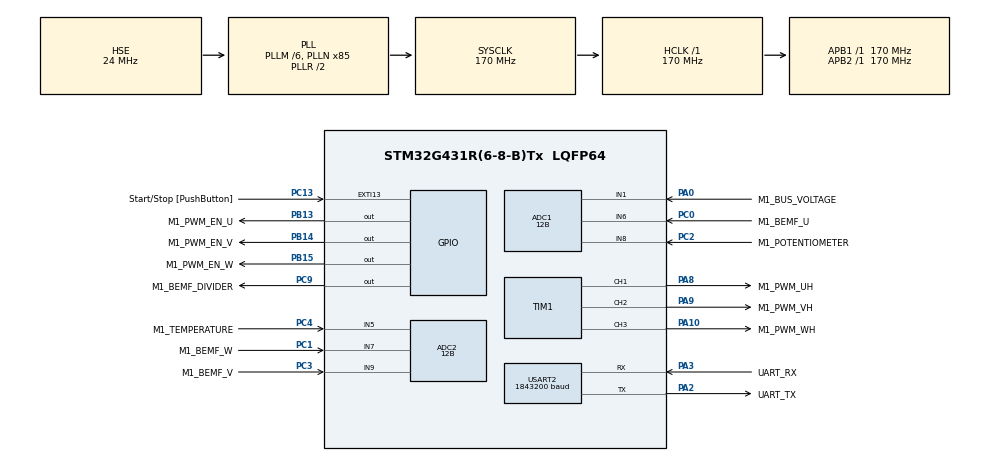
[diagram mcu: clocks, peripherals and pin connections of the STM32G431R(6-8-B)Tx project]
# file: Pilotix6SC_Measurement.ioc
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ADC1.AWD1FilteringConfig=ADC_AWD_FILTERING_NONE
ADC1.Channel-1\#ChannelRegularConversion=ADC_CHANNEL_1
ADC1.Channel-2\#ChannelRegularConversion=ADC_CHANNEL_8
ADC1.ClockPrescaler=ADC_CLOCK_ASYNC_DIV1
ADC1.ContinuousConvMode=DISABLE
ADC1.DMAContinuousRequests=DISABLE
ADC1.DataAlign=ADC_DATAALIGN_LEFT
ADC1.DiscontinuousConvMode=DISABLE
ADC1.EOCSelection=ADC_EOC_SINGLE_CONV
ADC1.EnableAnalogWatchDog1=true
ADC1.EnableAnalogWatchDog2=false
ADC1.EnableAnalogWatchDog3=false
ADC1.EnableInjectedConversion=ENABLE
ADC1.EnableRegularConversion=ENABLE
ADC1.ExternalTrigConv=ADC_SOFTWARE_START
ADC1.ExternalTrigConvEdge=ADC_EXTERNALTRIGCONVEDGE_NONE
ADC1.ExternalTrigInjecConv=ADC_EXTERNALTRIGINJEC_T1_TRGO
ADC1.ExternalTrigInjecConvEdge=ADC_EXTERNALTRIGINJECCONV_EDGE_FALLING
ADC1.InjNumberOfConversion=1
ADC1.InjectedChannel-1\#ChannelInjectedConversion=ADC_CHANNEL_6
ADC1.InjectedConvMode=None
ADC1.InjectedOffset-1\#ChannelInjectedConversion=0
ADC1.InjectedOffsetNumber-1\#ChannelInjectedConversion=ADC_OFFSET_NONE
ADC1.InjectedRank-1\#ChannelInjectedConversion=1
ADC1.InjectedSamplingTime-1\#ChannelInjectedConversion=ADC_SAMPLETIME_47CYCLES_5
ADC1.LowPowerAutoWait=DISABLE
ADC1.NbrOfConversion=2
ADC1.NbrOfConversionFlag=1
ADC1.Offset-1\#ChannelRegularConversion=0
ADC1.Offset-2\#ChannelRegularConversion=0
ADC1.OffsetNumber-1\#ChannelRegularConversion=ADC_OFFSET_NONE
ADC1.OffsetNumber-2\#ChannelRegularConversion=ADC_OFFSET_NONE
ADC1.Overrun=ADC_OVR_DATA_PRESERVED
ADC1.Rank-1\#ChannelRegularConversion=1
ADC1.Rank-2\#ChannelRegularConversion=2
ADC1.Resolution=ADC_RESOLUTION_12B
ADC1.SamplingTime-1\#ChannelRegularConversion=ADC_SAMPLETIME_47CYCLES_5
ADC1.SamplingTime-2\#ChannelRegularConversion=ADC_SAMPLETIME_47CYCLES_5
ADC1.ScanConvMode=ADC_SCAN_ENABLE
ADC1.WatchdogChannel=ADC_CHANNEL_6
ADC1.WatchdogMode=ADC_ANALOGWATCHDOG_SINGLE_INJEC
ADC1.master=1
ADC2.AWD1FilteringConfig=ADC_AWD_FILTERING_NONE
ADC2.Channel-1\#ChannelRegularConversion=ADC_CHANNEL_5
ADC2.ClockPrescaler=ADC_CLOCK_ASYNC_DIV1
ADC2.ContinuousConvMode=DISABLE
ADC2.DMAContinuousRequests=DISABLE
ADC2.DataAlign=ADC_DATAALIGN_LEFT
ADC2.DiscontinuousConvMode=DISABLE
ADC2.EOCSelection=ADC_EOC_SINGLE_CONV
ADC2.EnableAnalogWatchDog1=true
ADC2.EnableAnalogWatchDog2=false
ADC2.EnableAnalogWatchDog3=false
ADC2.EnableInjectedConversion=ENABLE
ADC2.EnableRegularConversion=ENABLE
ADC2.ExternalTrigConv=ADC_SOFTWARE_START
ADC2.ExternalTrigConvEdge=ADC_EXTERNALTRIGCONVEDGE_NONE
ADC2.ExternalTrigInjecConv=ADC_EXTERNALTRIGINJEC_T1_TRGO
ADC2.ExternalTrigInjecConvEdge=ADC_EXTERNALTRIGINJECCONV_EDGE_FALLING
ADC2.InjNumberOfConversion=1
ADC2.InjectedChannel-1\#ChannelInjectedConversion=ADC_CHANNEL_9
ADC2.InjectedConvMode=None
ADC2.InjectedOffset-1\#ChannelInjectedConversion=0
ADC2.InjectedOffsetNumber-1\#ChannelInjectedConversion=ADC_OFFSET_NONE
ADC2.InjectedRank-1\#ChannelInjectedConversion=1
ADC2.InjectedSamplingTime-1\#ChannelInjectedConversion=ADC_SAMPLETIME_47CYCLES_5
ADC2.LowPowerAutoWait=DISABLE
ADC2.NbrOfConversion=1
ADC2.NbrOfConversionFlag=1
ADC2.Offset-1\#ChannelRegularConversion=0
ADC2.OffsetNumber-1\#ChannelRegularConversion=ADC_OFFSET_NONE
ADC2.Overrun=ADC_OVR_DATA_PRESERVED
ADC2.Rank-1\#ChannelRegularConversion=1
ADC2.Resolution=ADC_RESOLUTION_12B
ADC2.SamplingTime-1\#ChannelRegularConversion=ADC_SAMPLETIME_47CYCLES_5
ADC2.ScanConvMode=ADC_SCAN_DISABLE
ADC2.WatchdogChannel=ADC_CHANNEL_9
ADC2.WatchdogMode=ADC_ANALOGWATCHDOG_SINGLE_INJEC
ADC2.master=1
Dma.Request0=USART2_RX
Dma.Request1=USART2_TX
Dma.USART2_RX.0.Direction=DMA_PERIPH_TO_MEMORY
Dma.USART2_RX.0.EventEnable=DISABLE
Dma.USART2_RX.0.Instance=DMA1_Channel1
Dma.USART2_RX.0.MemDataAlignment=DMA_MDATAALIGN_BYTE
Dma.USART2_RX.0.MemInc=DMA_MINC_ENABLE
Dma.USART2_RX.0.Mode=DMA_NORMAL
Dma.USART2_RX.0.PeriphDataAlignment=DMA_PDATAALIGN_BYTE
Dma.USART2_RX.0.PeriphInc=DMA_PINC_DISABLE
Dma.USART2_RX.0.Polarity=HAL_DMAMUX_REQ_GEN_RISING
Dma.USART2_RX.0.Priority=DMA_PRIORITY_LOW
Dma.USART2_RX.0.RequestNumber=1
Dma.USART2_RX.0.SignalID=NONE
Dma.USART2_RX.0.SyncEnable=DISABLE
Dma.USART2_RX.0.SyncPolarity=HAL_DMAMUX_SYNC_NO_EVENT
Dma.USART2_RX.0.SyncRequestNumber=1
Dma.USART2_RX.0.SyncSignalID=NONE
Dma.USART2_TX.1.Direction=DMA_MEMORY_TO_PERIPH
Dma.USART2_TX.1.EventEnable=DISABLE
Dma.USART2_TX.1.Instance=DMA1_Channel2
Dma.USART2_TX.1.MemDataAlignment=DMA_MDATAALIGN_BYTE
Dma.USART2_TX.1.MemInc=DMA_MINC_ENABLE
Dma.USART2_TX.1.Mode=DMA_NORMAL
Dma.USART2_TX.1.PeriphDataAlignment=DMA_PDATAALIGN_BYTE
Dma.USART2_TX.1.PeriphInc=DMA_PINC_DISABLE
Dma.USART2_TX.1.Polarity=HAL_DMAMUX_REQ_GEN_RISING
Dma.USART2_TX.1.Priority=DMA_PRIORITY_LOW
Dma.USART2_TX.1.RequestNumber=1
Dma.USART2_TX.1.SignalID=NONE
Dma.USART2_TX.1.SyncEnable=DISABLE
Dma.USART2_TX.1.SyncPolarity=HAL_DMAMUX_SYNC_NO_EVENT
Dma.USART2_TX.1.SyncRequestNumber=1
Dma.USART2_TX.1.SyncSignalID=NONE
ExtraMW=MotorControl
ExtraMW.MotorControl.Config=MotorControl
ExtraMW.MotorControl.Mode=MotorControl
ExtraMW.MotorControl.Root=MCSDK_v6.4.2-Full/MotorControl
ExtraMW.MotorControl.Template=templates
Mcu.Family=STM32G4
Mcu.Name=STM32G431R(6-8-B)Tx
Mcu.Package=LQFP64
MotorControl.ADC_REFERENCE_VOLTAGE=3.3
MotorControl.BEMF_ADC_SAMPLING_TIME=47
MotorControl.BEMF_ADC_TRIG_TIME_DPP=921
MotorControl.BEMF_ADC_TRIG_TIME_ON_DPP=256
MotorControl.BEMF_AVERAGING_FIFO_DEPTH=8
MotorControl.BEMF_DIVIDER_AVAILABLE=true
MotorControl.BEMF_DIVIDER_GPIO_PIN=LL_GPIO_PIN_9
MotorControl.BEMF_DIVIDER_GPIO_PORT=GPIOC
MotorControl.BEMF_ON_SENSING_DIVIDER=5.545455
MotorControl.BEMF_PWM_ON_ENABLE_HYSTERESIS_DPP=51
MotorControl.BEMF_PWM_ON_ENABLE_THRES_DPP=716
MotorControl.BOARD=NUCLEO-G431RB
MotorControl.BUS_VOLTAGE_READING=true
MotorControl.CCMRAM_ENABLED=false
MotorControl.CLOCK_FREQUENCY=CPU_CLK_170_MHZ
MotorControl.CLOCK_SOURCE=EXTERNAL
MotorControl.CPU_CLK_170_MHZ=true
MotorControl.CTLBOARD_NAME=NUCLEO-G431RB
MotorControl.CUBE_MX_VER=6.18.1
MotorControl.DBG_MCU_LOAD_MEASURE=true
MotorControl.DEBUG_DAC_FUNCTIONALITY_EN=false
MotorControl.DRIVES_NUMBER_SELECTION=SINGLEDRIVE
MotorControl.DRIVE_MODE=VM
MotorControl.DRIVE_NUMBER=1
MotorControl.DRIVE_TYPE=SIX_STEP
MotorControl.ENCODER_AVAILABLE=false
MotorControl.ENCODER_PPR=400
MotorControl.EXT_CLK_24_MHZ=true
MotorControl.EXT_CLOCK_FREQUENCY=EXT_CLK_24_MHZ
MotorControl.FAST_DEMAG=false
MotorControl.FLASH_SIZE=128
MotorControl.HALL_SENSORS_AVAILABLE=false
MotorControl.HIGH_SIDE_IDLE_STATE=false
MotorControl.HWV_POTENTIOMETER=Potentiometer
MotorControl.HWV_PWM=DrivingHighSidesAndThreeEnables
MotorControl.HW_COMPLEMENTED_LOW_SIDE=true
MotorControl.HW_DEAD_TIME_NS=550
MotorControl.IPs=NVIC,RCC,SYS,MotorControl,TIM1,TIM2,ADC1,ADC2,USART2,DMA
MotorControl.LF_TIMER_SELECTION=LF_TIM2
MotorControl.LOW_MEMORY_FOOTPRINT_REG=false
MotorControl.LOW_SIDE_IDLE_STATE=false
MotorControl.LOW_SIDE_SIGNALS_ENABLING=ES_GPIO
MotorControl.M1_ADC_AWD_FILTER_NUMBER=0
MotorControl.M1_AUXILIARY_SPEED_SENSOR=NONE
MotorControl.M1_BEMF_THRESHOLD_PWM=50
MotorControl.M1_BEMF_THRESHOLD_PWM_HIGH=100
MotorControl.M1_BEMF_THRESHOLD_PWM_LOW=1
MotorControl.M1_BOARD_MAX_CURRENT=1.5
MotorControl.M1_BUS_VOLTAGE_READING=true
MotorControl.M1_COMPUTATION_DELAY=-2
MotorControl.M1_CURRENT_MONITOR_READING=false
MotorControl.M1_CUR_READING=false
MotorControl.M1_DBG_OPEN_LOOP_ENABLE=false
MotorControl.M1_DC_CURRENT_RS_MEAS=1.5
MotorControl.M1_DEFAULT_TARGET_SPEED_RPM=0
MotorControl.M1_DP_TOPOLOGY=NONE
MotorControl.M1_DRIVE_TYPE=SIX_STEP
MotorControl.M1_ENABLE_SL_ALGO_FROM_PHASE=3
MotorControl.M1_ENCODER_PPR=400
MotorControl.M1_HALL_PHASE_SHIFT=300
MotorControl.M1_HALL_SENSORS_PLACEMENT=DEGREES_120
MotorControl.M1_HIGH_SIDE_IDLE_STATE=false
MotorControl.M1_HW_DEAD_TIME_NS=550
MotorControl.M1_ICL_ENABLED=false
MotorControl.M1_IPD_STARTUP=false
MotorControl.M1_LDLQ_RATIO=1.000
MotorControl.M1_LOW_SIDE_IDLE_STATE=false
MotorControl.M1_LOW_SIDE_SIGNALS_ENABLING=ES_GPIO
MotorControl.M1_LS=0.00001
MotorControl.M1_MAX_APPLICATION_SPEED=2130
MotorControl.M1_MAX_CONSECUTIVE_BEMF_ERRORS=10
MotorControl.M1_MIN_APPLICATION_SPEED=0
MotorControl.M1_MOTOR_MAX_SPEED_RPM=2130
MotorControl.M1_MOTOR_NAME=Pilotx 6210-210KV
MotorControl.M1_MOTOR_RATED_FLUX=0.014102062
MotorControl.M1_MOTOR_VOLTAGE_CONSTANT=4.0
MotorControl.M1_NB_CONSECUTIVE_TESTS=5
MotorControl.M1_NOMINAL_BUS_VOLTAGE_V=12
MotorControl.M1_OBS_MINIMUM_SPEED_RPM=320
MotorControl.M1_OCP_TOPOLOGY=NONE
MotorControl.M1_ON_OVER_VOLTAGE=TURN_OFF_PWM
MotorControl.M1_OTF_6S_BEMF_THRESHOLD=10
MotorControl.M1_OTF_6S_BRAKE_MS=1000
MotorControl.M1_OTF_6S_DETECTION_MS=500
MotorControl.M1_OTF_6S_LS_BRAKE_PERC=10
MotorControl.M1_OTF_6S_LS_DETECT_PERC=2
MotorControl.M1_OTF_6S_MAX_BEMF_ERROR=3
MotorControl.M1_OTF_RAMP_DURATION_MS=1000
MotorControl.M1_OTF_SPEED_DUTY_CYCLE_RATIO=3
MotorControl.M1_OTF_STARTUP=true
MotorControl.M1_OVP_THRESHOLD_HIGH=16.7
MotorControl.M1_OV_TEMPERATURE_HYSTERESIS_C=10
MotorControl.M1_OV_TEMPERATURE_PROT_ENABLING=true
MotorControl.M1_OV_TEMPERATURE_THRESHOLD_C=110
MotorControl.M1_OV_VOLTAGE_PROT_ENABLING=true
MotorControl.M1_OV_VOLTAGE_THRESHOLD_V=16.7
MotorControl.M1_PHASE1_DURATION=500
MotorControl.M1_PHASE1_FINAL_SPEED_RPM=0
MotorControl.M1_PHASE1_VOLTAGE_RMS=2.24
MotorControl.M1_PHASE2_DURATION=1000
MotorControl.M1_PHASE2_FINAL_SPEED_RPM=320
MotorControl.M1_PHASE2_VOLTAGE_RMS=5.24
MotorControl.M1_PHASE3_DURATION=500
MotorControl.M1_PHASE3_FINAL_SPEED_RPM=320
MotorControl.M1_PHASE3_VOLTAGE_RMS=5.24
MotorControl.M1_PHASE4_DURATION=0
MotorControl.M1_PHASE4_FINAL_SPEED_RPM=0
MotorControl.M1_PHASE4_VOLTAGE_RMS=2.24
MotorControl.M1_PHASE5_DURATION=0
MotorControl.M1_PHASE5_FINAL_SPEED_RPM=0
MotorControl.M1_PHASE5_VOLTAGE_RMS=2.24
MotorControl.M1_PID_SPEED_KD_DEFAULT=0
MotorControl.M1_PID_SPEED_KI_DEFAULT=418
MotorControl.M1_PID_SPEED_KP_DEFAULT=3170
MotorControl.M1_POLE_PAIR_NUM=14
MotorControl.M1_POTENTIOMETER_ENABLE=true
MotorControl.M1_POWERBOARD_NAME=X-NUCLEO-IHM16M1
MotorControl.M1_PWM_CHARGE_BOOT_CAP_DUTY_CYCLES=0.000
MotorControl.M1_PWM_CHARGE_BOOT_CAP_MS=10
MotorControl.M1_PWM_DRIVER_PN=STSPIN830
MotorControl.M1_PWM_FREQUENCY=30000
MotorControl.M1_PWM_TIMER_BRK_IRQ=TIM1_BRK_TIM15
MotorControl.M1_PWM_TIMER_SELECTION=PWM_TIM1
MotorControl.M1_PWM_TIMER_UP_IRQ=TIM1_UP_TIM16
MotorControl.M1_REGULATION_EXECUTION_RATE=1
MotorControl.M1_RS=0.13
MotorControl.M1_SHARED_SIGNAL_ENABLE=false
MotorControl.M1_SPD_DIFFERENTIAL_TERM_ENABLING=false
MotorControl.M1_SPEED_LOOP_FREQUENCY_HZ=1000
MotorControl.M1_SPEED_SENSOR=SENSORLESS_ADC
MotorControl.M1_SP_KDDIV=16
MotorControl.M1_SP_KIDIV=16384
MotorControl.M1_SP_KPDIV=128
MotorControl.M1_SS_MEAS_ERRORS_BEFORE_FAULTS=50
MotorControl.M1_STARTING_ANGLE_DEG=0
MotorControl.M1_SW_DEADTIME_NS=425
MotorControl.M1_T0_C=25
MotorControl.M1_TEMPERATURE_READING=true
MotorControl.M1_TEMP_ADC_SAMPLING_TIME=47
MotorControl.M1_TEMP_FDBK_ADC=ADC2
MotorControl.M1_TEMP_FDBK_CHANNEL=ADC_CHANNEL_5
MotorControl.M1_TRANSITION_DURATION=25
MotorControl.M1_T_MAX=110
MotorControl.M1_UD_VOLTAGE_THRESHOLD_V=7.0
MotorControl.M1_UV_VOLTAGE_PROT_ENABLING=true
MotorControl.M1_V0_V=0.579
MotorControl.M1_VBUS_ADC=ADC1
MotorControl.M1_VBUS_ADC_SAMPLING_TIME=47
MotorControl.M1_VBUS_CHANNEL=ADC_CHANNEL_1
MotorControl.M1_VBUS_PARTITIONING_FACTOR=0.0625
MotorControl.M1_ZCD_FALLING_TO_COMM=30
MotorControl.M1_ZCD_RISING_TO_COMM=30
MotorControl.M1_dV_dT=0.027
MotorControl.MCP_ASPEP_OVER_UART=true
MotorControl.MCP_ASYNC_EN=false
MotorControl.MCP_ASYNC_OVER_ASPEP_EN=false
MotorControl.MCP_ASYNC_OVER_UART_A_EN=false
MotorControl.MCP_DMACH_RX_UART_A=1
MotorControl.MCP_DMACH_TX_UART_A=2
MotorControl.MCP_DMA_RX_UART_A=DMA1
MotorControl.MCP_DMA_TX_UART_A=DMA1
MotorControl.MCP_EN=true
MotorControl.MCP_IRQ_HANDLER_DMA_RX_UART_A=DMA1_Channel1_IRQHandler
MotorControl.MCP_IRQ_HANDLER_UART_A=USART2_IRQHandler
MotorControl.MCP_OVER_ASPEP_EN=true
MotorControl.MCP_OVER_STLNK_EN=false
MotorControl.MCP_OVER_UART_A_EN=true
MotorControl.MCP_OVER_UART_B_EN=false
MotorControl.MCP_RX_SYNC_PAYLOAD_MAX=256
MotorControl.MCP_TX_SYNC_PAYLOAD_MAX=256
MotorControl.MCU=STM32G431RB
MotorControl.MCU_FAMILY=STM32G4
MotorControl.MCU_LINE=STM32G4x1
MotorControl.MCU_NAME=STM32G431R(6-8-B)Tx
MotorControl.MCU_PACKAGE=LQFP64
MotorControl.MCU_TYPE=STM32G431RB
MotorControl.MCU_USERNAME=STM32G431RBTx
MotorControl.MC_WORKBENCH_VERSION=6.4.2
MotorControl.MIN_DEMAG_TIME=2
MotorControl.MOTOR_TYPE=PMSM
MotorControl.ON_OVER_VOLTAGE=TURN_OFF_PWM
MotorControl.OV_TEMPERATURE_PROT_ENABLING=true
MotorControl.OV_VOLTAGE_PROT_ENABLING=true
MotorControl.PHASE_UH_GPIO_PIN=LL_GPIO_PIN_8
MotorControl.PHASE_UH_GPIO_PORT=GPIOA
MotorControl.PHASE_UH_POLARITY=H_ACTIVE_HIGH
MotorControl.PHASE_UL_GPIO_PIN=LL_GPIO_PIN_13
MotorControl.PHASE_UL_GPIO_PORT=GPIOB
MotorControl.PHASE_UL_POLARITY=L_ACTIVE_HIGH
MotorControl.PHASE_U_BEMF_ADC=ADC1
MotorControl.PHASE_U_BEMF_CHANNEL=ADC_CHANNEL_6
MotorControl.PHASE_U_BEMF_GPIO_PIN=LL_GPIO_PIN_0
MotorControl.PHASE_U_BEMF_GPIO_PORT=GPIOC
MotorControl.PHASE_U_PWM_CHANNEL=TIM_Channel_1
MotorControl.PHASE_VH_GPIO_PIN=LL_GPIO_PIN_9
MotorControl.PHASE_VH_GPIO_PORT=GPIOA
MotorControl.PHASE_VH_POLARITY=H_ACTIVE_HIGH
MotorControl.PHASE_VL_GPIO_PIN=LL_GPIO_PIN_14
MotorControl.PHASE_VL_GPIO_PORT=GPIOB
MotorControl.PHASE_VL_POLARITY=L_ACTIVE_HIGH
MotorControl.PHASE_V_BEMF_ADC=ADC2
MotorControl.PHASE_V_BEMF_CHANNEL=ADC_CHANNEL_9
MotorControl.PHASE_V_BEMF_GPIO_PIN=LL_GPIO_PIN_3
MotorControl.PHASE_V_BEMF_GPIO_PORT=GPIOC
MotorControl.PHASE_V_PWM_CHANNEL=TIM_Channel_2
MotorControl.PHASE_WH_GPIO_PIN=LL_GPIO_PIN_10
MotorControl.PHASE_WH_GPIO_PORT=GPIOA
MotorControl.PHASE_WH_POLARITY=H_ACTIVE_HIGH
MotorControl.PHASE_WL_GPIO_PIN=LL_GPIO_PIN_15
MotorControl.PHASE_WL_GPIO_PORT=GPIOB
MotorControl.PHASE_WL_POLARITY=L_ACTIVE_HIGH
MotorControl.PHASE_W_BEMF_ADC=ADC2
MotorControl.PHASE_W_BEMF_CHANNEL=ADC_CHANNEL_7
MotorControl.PHASE_W_BEMF_GPIO_PIN=LL_GPIO_PIN_1
MotorControl.PHASE_W_BEMF_GPIO_PORT=GPIOC
MotorControl.PHASE_W_PWM_CHANNEL=TIM_Channel_3
MotorControl.POTENTIOMETER_ADC=ADC1
MotorControl.POTENTIOMETER_ADC_SAMPLING_TIME=47
MotorControl.POTENTIOMETER_CHANNEL=ADC_CHANNEL_8
MotorControl.POTENTIOMETER_GPIO_PIN=LL_GPIO_PIN_2
MotorControl.POTENTIOMETER_GPIO_PORT=GPIOC
MotorControl.POTENTIOMETER_READING=true
MotorControl.PWM_FREQUENCY=30000
MotorControl.PWM_TIMER_SELECTION=PWM_TIM1
MotorControl.QUASI_SYNC=false
MotorControl.REGULATION_EXECUTION_RATE=1
MotorControl.RUN_DEMAG_TIME=20
MotorControl.R_BRAKE_SWITCH_OFF_THRES_V=13
MotorControl.SENSORLESS_ADC=true
MotorControl.SINGLEDRIVE=true
MotorControl.SPD_DIFFERENTIAL_TERM_ENABLING=false
MotorControl.SPEED_SENSOR_SELECTION=SENSORLESS_ADC
MotorControl.SPEED_THRESHOLD_DEMAG=1800
MotorControl.STARTUP_DEMAG_TIME=20
MotorControl.START_STOP_BTN=true
MotorControl.START_STOP_GPIO_IRQ=EXTI15_10
MotorControl.START_STOP_GPIO_PIN=LL_GPIO_PIN_13
MotorControl.START_STOP_GPIO_PORT=GPIOC
MotorControl.START_STOP_POLARITY=DIN_ACTIVE_LOW
MotorControl.START_STOP_POLARITY_EDGE=GPIO_NOPULL
MotorControl.STM32G431RB=true
MotorControl.SW_DEADTIME_NS=425
MotorControl.TEMPERATURE_READING=true
MotorControl.TEMP_ADC_SAMPLING_TIME=47
MotorControl.TEMP_FDBK_ADC=ADC2
MotorControl.TEMP_FDBK_CHANNEL=ADC_CHANNEL_5
MotorControl.TEMP_FDBK_GPIO_PIN=LL_GPIO_PIN_4
MotorControl.TEMP_FDBK_GPIO_PORT=GPIOC
MotorControl.TFDIFFERENTIAL_TERM_ENABLING=false
MotorControl.USART_RX_GPIO_PIN=LL_GPIO_PIN_3
MotorControl.USART_RX_GPIO_PORT=GPIOA
MotorControl.USART_SELECTION=USE_USART2
MotorControl.USART_SELECTION_A=USART2
MotorControl.USART_SPEED=1843200
MotorControl.USART_TX_GPIO_PIN=LL_GPIO_PIN_2
MotorControl.USART_TX_GPIO_PORT=GPIOA
MotorControl.UV_VOLTAGE_PROT_ENABLING=true
MotorControl.VBUS_ADC=ADC1
MotorControl.VBUS_ADC_SAMPLING_TIME=47
MotorControl.VBUS_CHANNEL=ADC_CHANNEL_1
MotorControl.VBUS_GPIO_PIN=LL_GPIO_PIN_0
MotorControl.VBUS_GPIO_PORT=GPIOA
MotorControl.WB_MX_ADC_AWD_FILTER_NUMBER=NONE
MotorControl.WB_MX_HEAPSIZE=0x200
MotorControl.WB_MX_PHASE_U_BEMF_ADC_IRQ=ADC1_2
MotorControl.WB_MX_PHASE_V_BEMF_ADC_IRQ=ADC1_2
MotorControl.WB_MX_PHASE_W_BEMF_ADC_IRQ=ADC1_2
MotorControl.WB_MX_STACKSIZE=0x400
MotorControl.WB_MX_TRUSTZONE_AVAILABLE=false
MotorControl.WB_UI_ENCODER_HAS_INDEX_PIN=false
MotorControl.WB_UI_FRICTION=6.02
MotorControl.WB_UI_INERTIA=5.84
MotorControl.WB_UI_MAGNETIC_STRUCTURE=SM-PMSM
MotorControl.WB_UI_MAX_CURRENT=53
MotorControl.WB_UI_MAX_NOMINAL_DC_VOLTAGE=35
MotorControl.WB_UI_MAX_PWMFREQUENCY=100000
MotorControl.WB_UI_MOTOR_DESCRIPTION=Heavy-Lift Motor
MotorControl.WB_UI_PWM_ON_SENSING=true
MotorControl.WB_UI_PW_BOARD_MAX_RATED_CURRENT=2.12
MotorControl.WB_UI_PW_BOARD_MAX_VOLTAGE=45
MotorControl.WB_UI_PW_BOARD_MIN_VOLTAGE=7
MotorControl.WB_to_Mx_template_version=25-05-06
MotorControl.WB_to_Mx_version=6.4.2
NVIC.ADC1_2_IRQn=true\:0\:1\:true\:true\:false\:6\:true\:true\:true
NVIC.DMA1_Channel1_IRQn=true\:3\:0\:true\:true\:false\:2\:true\:true\:true
NVIC.EXTI15_10_IRQn=true\:3\:0\:false\:true\:false\:7\:true\:true\:true
NVIC.PriorityGroup=NVIC_PRIORITYGROUP_3
NVIC.TIM1_BRK_TIM15_IRQn=true\:1\:0\:true\:true\:false\:4\:true\:true\:true
NVIC.TIM1_UP_TIM16_IRQn=true\:1\:0\:false\:true\:false\:5\:true\:true\:true
NVIC.TIM2_IRQn=true\:0\:0\:true\:true\:false\:3\:true\:true\:true
NVIC.USART2_IRQn=true\:3\:1\:true\:true\:false\:1\:true\:true\:true
PA0.GPIO_Label=M1_BUS_VOLTAGE
PA0.Mode=IN1-Single-Ended
PA0.Signal=ADC1_IN1
PA10.GPIO_Label=M1_PWM_WH
PA10.GPIO_PuPd=GPIO_PULLDOWN
PA10.GPIO_Speed=GPIO_SPEED_FREQ_HIGH
PA10.Signal=S_TIM1_CH3
PA2.GPIO_Label=UART_TX
PA2.GPIO_Mode=GPIO_MODE_AF_PP
PA2.GPIO_PuPd=GPIO_NOPULL
PA2.GPIO_Speed=GPIO_SPEED_FREQ_LOW
PA2.Mode=Asynchronous
PA2.Signal=USART2_TX
PA3.GPIO_Label=UART_RX
PA3.GPIO_Mode=GPIO_MODE_AF_PP
PA3.GPIO_PuPd=GPIO_NOPULL
PA3.GPIO_Speed=GPIO_SPEED_FREQ_LOW
PA3.Mode=Asynchronous
PA3.Signal=USART2_RX
PA8.GPIO_Label=M1_PWM_UH
PA8.GPIO_PuPd=GPIO_PULLDOWN
PA8.GPIO_Speed=GPIO_SPEED_FREQ_HIGH
PA8.Signal=S_TIM1_CH1
PA9.GPIO_Label=M1_PWM_VH
PA9.GPIO_PuPd=GPIO_PULLDOWN
PA9.GPIO_Speed=GPIO_SPEED_FREQ_HIGH
PA9.Signal=S_TIM1_CH2
PB13.GPIO_Label=M1_PWM_EN_U
PB13.GPIO_PuPd=GPIO_PULLDOWN
PB13.GPIO_Speed=GPIO_SPEED_FREQ_HIGH
PB13.Signal=GPIO_Output
PB14.GPIO_Label=M1_PWM_EN_V
PB14.GPIO_PuPd=GPIO_PULLDOWN
PB14.GPIO_Speed=GPIO_SPEED_FREQ_HIGH
PB14.Signal=GPIO_Output
PB15.GPIO_Label=M1_PWM_EN_W
PB15.GPIO_PuPd=GPIO_PULLDOWN
PB15.GPIO_Speed=GPIO_SPEED_FREQ_HIGH
PB15.Signal=GPIO_Output
PC0.GPIO_Label=M1_BEMF_U
PC0.Mode=IN6-Single-Ended
PC0.Signal=ADC1_IN6
PC1.GPIO_Label=M1_BEMF_W
PC1.Mode=IN7-Single-Ended
PC1.Signal=ADC2_IN7
PC13.GPIO_Label=Start/Stop [PushButton]
PC13.GPIO_ModeDefaultEXTI=GPIO_MODE_IT_FALLING
PC13.GPIO_PuPd=GPIO_NOPULL
PC13.Signal=GPXTI13
PC2.GPIO_Label=M1_POTENTIOMETER
PC2.Mode=IN8-Single-Ended
PC2.Signal=ADC1_IN8
PC3.GPIO_Label=M1_BEMF_V
PC3.Mode=IN9-Single-Ended
PC3.Signal=ADC2_IN9
PC4.GPIO_Label=M1_TEMPERATURE
PC4.Mode=IN5-Single-Ended
PC4.Signal=ADC2_IN5
PC9.GPIO_Label=M1_BEMF_DIVIDER
PC9.GPIO_PuPd=GPIO_PULLDOWN
PC9.PinState=GPIO_PIN_RESET
PC9.Signal=GPIO_Output
PF0-OSC_IN.Mode=HSE-External-Oscillator
PF0-OSC_IN.Signal=RCC_OSC_IN
PF1-OSC_OUT.Mode=HSE-External-Oscillator
PF1-OSC_OUT.Signal=RCC_OSC_OUT
ProjectManager.HeapSize=0x200
ProjectManager.StackSize=0x400
ProjectManager.TargetToolchain=STM32CubeIDE
RCC.ADC12CLockSelection=RCC_ADC12CLKSOURCE_PLL
RCC.ADC12Freq_Value=42500000
RCC.AHBFreq_Value=170000000
RCC.APB1Freq_Value=170000000
RCC.APB1TimFreq_Value=170000000
RCC.APB2Freq_Value=170000000
RCC.APB2TimFreq_Value=170000000
RCC.CK48CLockSelection=RCC_USBCLKSOURCE_PLL
RCC.CortexFreq_Value=170000000
RCC.EXTERNAL_CLOCK_VALUE=12288000
RCC.EnbaleCSS=true
RCC.HCLKFreq_Value=170000000
RCC.HSE_VALUE=24000000
RCC.HSI48_VALUE=48000000
RCC.HSI_VALUE=16000000
RCC.LSE_VALUE=32768
RCC.PLLM=RCC_PLLM_DIV6
RCC.PLLN=85
RCC.PLLP=RCC_PLLP_DIV8
RCC.PLLSourceVirtual=RCC_PLLSOURCE_HSE
RCC.PREFETCH_ENABLE=1
RCC.SYSCLKFreq_VALUE=170000000
RCC.SYSCLKSource=RCC_SYSCLKSOURCE_PLLCLK
RCC.USBFreq_Value=170000000
RCC.VCOOutputFreq_Value=340000000
SH.S_TIM1_CH1.0=TIM1_CH1,PWM Generation1 CH1
SH.S_TIM1_CH2.0=TIM1_CH2,PWM Generation2 CH2
SH.S_TIM1_CH3.0=TIM1_CH3,PWM Generation3 CH3
TIM1.AutoReloadPreload=TIM_AUTORELOAD_PRELOAD_DISABLE
TIM1.AutomaticOutput=TIM_AUTOMATICOUTPUT_DISABLE
TIM1.Break2Filter=3
TIM1.Break2Polarity=TIM_BREAK2POLARITY_HIGH
TIM1.Break2State=TIM_BREAK2_DISABLE
TIM1.BreakFilter=0
TIM1.BreakPolarity=TIM_BREAKPOLARITY_HIGH
TIM1.BreakState=TIM_BREAK_DISABLE
TIM1.Channel=TIM_CHANNEL_4
TIM1.Channel-PWM\ Generation1\ CH1=TIM_CHANNEL_1
TIM1.Channel-PWM\ Generation2\ CH2=TIM_CHANNEL_2
TIM1.Channel-PWM\ Generation3\ CH3=TIM_CHANNEL_3
TIM1.Channel-PWM\ Generation4\ No\ Output=TIM_CHANNEL_4
TIM1.ClearInputSource=TIM_CLEARINPUTSOURCE_NONE
TIM1.ClockDivision=TIM_CLOCKDIVISION_DIV1
TIM1.CounterMode=TIM_COUNTERMODE_UP
TIM1.LockLevel=TIM_LOCKLEVEL_OFF
TIM1.OC1Preload_PWM=ENABLE
TIM1.OC2Preload_PWM=ENABLE
TIM1.OC3Preload_PWM=ENABLE
TIM1.OC4Preload_PWM=ENABLE
TIM1.OCFastMode_PWM=TIM_OCFAST_DISABLE
TIM1.OCIdleState_1=TIM_OCIDLESTATE_RESET
TIM1.OCIdleState_2=TIM_OCIDLESTATE_RESET
TIM1.OCIdleState_3=TIM_OCIDLESTATE_RESET
TIM1.OCIdleState_4=TIM_OCIDLESTATE_RESET
TIM1.OCMode_PWM-PWM\ Generation1\ CH1=TIM_OCMODE_PWM1
TIM1.OCMode_PWM-PWM\ Generation2\ CH2=TIM_OCMODE_PWM1
TIM1.OCMode_PWM-PWM\ Generation3\ CH3=TIM_OCMODE_PWM1
TIM1.OCMode_PWM-PWM\ Generation4\ No\ Output=TIM_OCMODE_PWM1
TIM1.OCPolarity_1=TIM_OCPOLARITY_HIGH
TIM1.OCPolarity_2=TIM_OCPOLARITY_HIGH
TIM1.OCPolarity_3=TIM_OCPOLARITY_HIGH
TIM1.OCPolarity_4=TIM_OCPOLARITY_HIGH
TIM1.OffStateIDLEMode=TIM_OSSI_DISABLE
TIM1.OffStateRunMode=TIM_OSSR_DISABLE
TIM1.PeriodNoDither=(PWM_PERIOD_CYCLES)
TIM1.Prescaler=((TIM_CLOCK_DIVIDER) - 1)
TIM1.RepetitionCounter=(REP_COUNTER)
TIM1.SourceBRK2DigInput=TIM_BREAKINPUTSOURCE_DISABLE
TIM1.SourceBRKDigInput=TIM_BREAKINPUTSOURCE_DISABLE
TIM1.TIM_MasterOutputTrigger=TIM_TRGO_OC4REF
TIM1.TIM_MasterOutputTrigger2=TIM_TRGO2_RESET
TIM1.TIM_MasterSlaveMode=TIM_MASTERSLAVEMODE_ENABLE
TIM2.PeriodNoDither=LF_TIMER_ARR
TIM2.Prescaler=LF_TIMER_PSC
TIM2.TIM_MasterOutputTrigger=TIM_TRGO_ENABLE
TIM2.TIM_MasterSlaveMode=TIM_MASTERSLAVEMODE_ENABLE
USART2.BaudRate=1843200
USART2.VirtualMode-Asynchronous=VM_ASYNC
USART2.WordLength=WORDLENGTH_8B
VP_MotorControl_MC_ENABLED.Mode=SixStep
VP_SYS_VS_DBSignals.Mode=DisableDeadBatterySignals
VP_TIM1_VS_ClockSourceINT.Mode=Internal
VP_TIM1_VS_no_output4.Mode=PWM Generation4 No Output
VP_TIM2_VS_ClockSourceINT.Mode=Internal
board=custom

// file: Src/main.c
/* USER CODE BEGIN Header */
/**
 ******************************************************************************
 * @file           : main.c
 * @brief          : Main program body
 ******************************************************************************
 * @attention
 *
 * Copyright (c) 2026 STMicroelectronics.
 * All rights reserved.
 *
 * This software is licensed under terms that can be found in the LICENSE file
 * in the root directory of this software component.
 * If no LICENSE file comes with this software, it is provided AS-IS.
 *
 ******************************************************************************
 */
/* USER CODE END Header */
#include "main.h"

ADC_HandleTypeDef hadc1;
ADC_HandleTypeDef hadc2;

TIM_HandleTypeDef htim1;
TIM_HandleTypeDef htim2;

UART_HandleTypeDef huart2;
DMA_HandleTypeDef hdma_usart2_rx;
DMA_HandleTypeDef hdma_usart2_tx;

/* USER CODE BEGIN PV */
static volatile float USER_CPU_Load = 0.0f;
static volatile float USER_SPEED_REF = 0.0f;
static volatile float USER_SPEED_MEAS = 0;
static volatile float USER_SPEED_AVR = 0;
/* USER CODE END PV */

void SystemClock_Config(void);
static void MX_GPIO_Init(void);
static void MX_DMA_Init(void);
static void MX_ADC1_Init(void);
static void MX_ADC2_Init(void);
static void MX_TIM1_Init(void);
static void MX_TIM2_Init(void);
static void MX_USART2_UART_Init(void);
static void MX_NVIC_Init(void);

int main(void)
{

  /* MCU Configuration--------------------------------------------------------*/

  /* Reset of all peripherals, Initializes the Flash interface and the Systick. */
  HAL_Init();

  /* Configure the system clock */
  SystemClock_Config();

  /* Initialize all configured peripherals */
  MX_GPIO_Init();
  MX_DMA_Init();
  MX_ADC1_Init();
  MX_ADC2_Init();
  MX_TIM1_Init();
  MX_TIM2_Init();
  MX_USART2_UART_Init();
  MX_MotorControl_Init();

  /* Initialize interrupts */
  MX_NVIC_Init();

  /* Infinite loop */
  /* USER CODE BEGIN WHILE */
	while (1) {
		uint8_t motorID = 0;
		MCI_Handle_t *pMCIN = &Mci[motorID];

		USER_CPU_Load = MC_Perf_GetCPU_Load(pMCIN->pPerfMeasure);
		USER_SPEED_REF = (((float) MCI_GetMecSpeedRefUnit(pMCIN) * U_RPM)
				/ SPEED_UNIT);

		USER_SPEED_MEAS = (float) (((float) Bemf_ADC_M1._Super.speedConvFactor)
				/ Bemf_ADC_M1.SpeedBufferDpp[Bemf_ADC_M1.SpeedFIFOIdx])
				/ SPEED_UNIT * U_RPM;

		USER_SPEED_AVR =
				(float) ((float) Bemf_ADC_M1._Super.speedConvFactor
						/ (Bemf_ADC_M1.ElPeriodSum
								/ (float) Bemf_ADC_M1.SpeedBufferSize))
						/ SPEED_UNIT * U_RPM;

    /* USER CODE END WHILE */

	}
}

void SystemClock_Config(void)
{
  RCC_OscInitTypeDef RCC_OscInitStruct = {0};
  RCC_ClkInitTypeDef RCC_ClkInitStruct = {0};

  /** Configure the main internal regulator output voltage
  */
  HAL_PWREx_ControlVoltageScaling(PWR_REGULATOR_VOLTAGE_SCALE1_BOOST);

  /** Initializes the RCC Oscillators according to the specified parameters
  * in the RCC_OscInitTypeDef structure.
  */
  RCC_OscInitStruct.OscillatorType = RCC_OSCILLATORTYPE_HSE;
  RCC_OscInitStruct.HSEState = RCC_HSE_ON;
  RCC_OscInitStruct.PLL.PLLState = RCC_PLL_ON;
  RCC_OscInitStruct.PLL.PLLSource = RCC_PLLSOURCE_HSE;
  RCC_OscInitStruct.PLL.PLLM = RCC_PLLM_DIV6;
  RCC_OscInitStruct.PLL.PLLN = 85;
  RCC_OscInitStruct.PLL.PLLP = RCC_PLLP_DIV8;
  RCC_OscInitStruct.PLL.PLLQ = RCC_PLLQ_DIV2;
  RCC_OscInitStruct.PLL.PLLR = RCC_PLLR_DIV2;
  if (HAL_RCC_OscConfig(&RCC_OscInitStruct) != HAL_OK)
  {
    Error_Handler();
  }

  /** Initializes the CPU, AHB and APB buses clocks
  */
  RCC_ClkInitStruct.ClockType = RCC_CLOCKTYPE_HCLK|RCC_CLOCKTYPE_SYSCLK
                              |RCC_CLOCKTYPE_PCLK1|RCC_CLOCKTYPE_PCLK2;
  RCC_ClkInitStruct.SYSCLKSource = RCC_SYSCLKSOURCE_PLLCLK;
  RCC_ClkInitStruct.AHBCLKDivider = RCC_SYSCLK_DIV1;
  RCC_ClkInitStruct.APB1CLKDivider = RCC_HCLK_DIV1;
  RCC_ClkInitStruct.APB2CLKDivider = RCC_HCLK_DIV1;

  if (HAL_RCC_ClockConfig(&RCC_ClkInitStruct, FLASH_LATENCY_4) != HAL_OK)
  {
    Error_Handler();
  }

  /** Enables the Clock Security System
  */
  HAL_RCC_EnableCSS();
}

/**
  * @brief NVIC Configuration.
  * @retval None
  */
static void MX_NVIC_Init(void)
{
  /* USART2_IRQn interrupt configuration */
  HAL_NVIC_SetPriority(USART2_IRQn, 3, 1);
  HAL_NVIC_EnableIRQ(USART2_IRQn);
  /* DMA1_Channel1_IRQn interrupt configuration */
  HAL_NVIC_SetPriority(DMA1_Channel1_IRQn, 3, 0);
  HAL_NVIC_EnableIRQ(DMA1_Channel1_IRQn);
  /* TIM2_IRQn interrupt configuration */
  HAL_NVIC_SetPriority(TIM2_IRQn, 0, 0);
  HAL_NVIC_EnableIRQ(TIM2_IRQn);
  /* TIM1_BRK_TIM15_IRQn interrupt configuration */
  HAL_NVIC_SetPriority(TIM1_BRK_TIM15_IRQn, 1, 0);
  HAL_NVIC_EnableIRQ(TIM1_BRK_TIM15_IRQn);
  /* TIM1_UP_TIM16_IRQn interrupt configuration */
  HAL_NVIC_SetPriority(TIM1_UP_TIM16_IRQn, 1, 0);
  HAL_NVIC_EnableIRQ(TIM1_UP_TIM16_IRQn);
  /* ADC1_2_IRQn interrupt configuration */
  HAL_NVIC_SetPriority(ADC1_2_IRQn, 0, 1);
  HAL_NVIC_EnableIRQ(ADC1_2_IRQn);
  /* EXTI15_10_IRQn interrupt configuration */
  HAL_NVIC_SetPriority(EXTI15_10_IRQn, 3, 0);
  HAL_NVIC_EnableIRQ(EXTI15_10_IRQn);
}

static void MX_ADC1_Init(void)
{

  ADC_MultiModeTypeDef multimode = {0};
  ADC_AnalogWDGConfTypeDef AnalogWDGConfig = {0};
  ADC_InjectionConfTypeDef sConfigInjected = {0};
  ADC_ChannelConfTypeDef sConfig = {0};

  /** Common config
  */
  hadc1.Instance = ADC1;
  hadc1.Init.ClockPrescaler = ADC_CLOCK_ASYNC_DIV1;
  hadc1.Init.Resolution = ADC_RESOLUTION_12B;
  hadc1.Init.DataAlign = ADC_DATAALIGN_LEFT;
  hadc1.Init.GainCompensation = 0;
  hadc1.Init.ScanConvMode = ADC_SCAN_ENABLE;
  hadc1.Init.EOCSelection = ADC_EOC_SINGLE_CONV;
  hadc1.Init.LowPowerAutoWait = DISABLE;
  hadc1.Init.ContinuousConvMode = DISABLE;
  hadc1.Init.NbrOfConversion = 2;
  hadc1.Init.DiscontinuousConvMode = DISABLE;
  hadc1.Init.ExternalTrigConv = ADC_SOFTWARE_START;
  hadc1.Init.ExternalTrigConvEdge = ADC_EXTERNALTRIGCONVEDGE_NONE;
  hadc1.Init.DMAContinuousRequests = DISABLE;
  hadc1.Init.Overrun = ADC_OVR_DATA_PRESERVED;
  hadc1.Init.OversamplingMode = DISABLE;
  if (HAL_ADC_Init(&hadc1) != HAL_OK)
  {
    Error_Handler();
  }

  /** Configure the ADC multi-mode
  */
  multimode.Mode = ADC_MODE_INDEPENDENT;
  if (HAL_ADCEx_MultiModeConfigChannel(&hadc1, &multimode) != HAL_OK)
  {
    Error_Handler();
  }

  /** Configure Analog WatchDog 1
  */
  AnalogWDGConfig.WatchdogNumber = ADC_ANALOGWATCHDOG_1;
  AnalogWDGConfig.WatchdogMode = ADC_ANALOGWATCHDOG_SINGLE_INJEC;
  AnalogWDGConfig.Channel = ADC_CHANNEL_6;
  AnalogWDGConfig.ITMode = DISABLE;
  AnalogWDGConfig.HighThreshold = 0;
  AnalogWDGConfig.LowThreshold = 0;
  AnalogWDGConfig.FilteringConfig = ADC_AWD_FILTERING_NONE;
  if (HAL_ADC_AnalogWDGConfig(&hadc1, &AnalogWDGConfig) != HAL_OK)
  {
    Error_Handler();
  }

  /** Configure Injected Channel
  */
  sConfigInjected.InjectedChannel = ADC_CHANNEL_6;
  sConfigInjected.InjectedRank = ADC_INJECTED_RANK_1;
  sConfigInjected.InjectedSamplingTime = ADC_SAMPLETIME_47CYCLES_5;
  sConfigInjected.InjectedSingleDiff = ADC_SINGLE_ENDED;
  sConfigInjected.InjectedOffsetNumber = ADC_OFFSET_NONE;
  sConfigInjected.InjectedOffset = 0;
  sConfigInjected.InjectedNbrOfConversion = 1;
  sConfigInjected.InjectedDiscontinuousConvMode = DISABLE;
  sConfigInjected.AutoInjectedConv = DISABLE;
  sConfigInjected.QueueInjectedContext = DISABLE;
  sConfigInjected.ExternalTrigInjecConv = ADC_EXTERNALTRIGINJEC_T1_TRGO;
  sConfigInjected.ExternalTrigInjecConvEdge = ADC_EXTERNALTRIGINJECCONV_EDGE_FALLING;
  sConfigInjected.InjecOversamplingMode = DISABLE;
  if (HAL_ADCEx_InjectedConfigChannel(&hadc1, &sConfigInjected) != HAL_OK)
  {
    Error_Handler();
  }

  /** Configure Regular Channel
  */
  sConfig.Channel = ADC_CHANNEL_1;
  sConfig.Rank = ADC_REGULAR_RANK_1;
  sConfig.SamplingTime = ADC_SAMPLETIME_47CYCLES_5;
  sConfig.SingleDiff = ADC_SINGLE_ENDED;
  sConfig.OffsetNumber = ADC_OFFSET_NONE;
  sConfig.Offset = 0;
  if (HAL_ADC_ConfigChannel(&hadc1, &sConfig) != HAL_OK)
  {
    Error_Handler();
  }

  /** Configure Regular Channel
  */
  sConfig.Channel = ADC_CHANNEL_8;
  sConfig.Rank = ADC_REGULAR_RANK_2;
  if (HAL_ADC_ConfigChannel(&hadc1, &sConfig) != HAL_OK)
  {
    Error_Handler();
  }

}

static void MX_ADC2_Init(void)
{

  ADC_AnalogWDGConfTypeDef AnalogWDGConfig = {0};
  ADC_InjectionConfTypeDef sConfigInjected = {0};
  ADC_ChannelConfTypeDef sConfig = {0};

  /** Common config
  */
  hadc2.Instance = ADC2;
  hadc2.Init.ClockPrescaler = ADC_CLOCK_ASYNC_DIV1;
  hadc2.Init.Resolution = ADC_RESOLUTION_12B;
  hadc2.Init.DataAlign = ADC_DATAALIGN_LEFT;
  hadc2.Init.GainCompensation = 0;
  hadc2.Init.ScanConvMode = ADC_SCAN_DISABLE;
  hadc2.Init.EOCSelection = ADC_EOC_SINGLE_CONV;
  hadc2.Init.LowPowerAutoWait = DISABLE;
  hadc2.Init.ContinuousConvMode = DISABLE;
  hadc2.Init.NbrOfConversion = 1;
  hadc2.Init.DiscontinuousConvMode = DISABLE;
  hadc2.Init.ExternalTrigConv = ADC_SOFTWARE_START;
  hadc2.Init.ExternalTrigConvEdge = ADC_EXTERNALTRIGCONVEDGE_NONE;
  hadc2.Init.DMAContinuousRequests = DISABLE;
  hadc2.Init.Overrun = ADC_OVR_DATA_PRESERVED;
  hadc2.Init.OversamplingMode = DISABLE;
  if (HAL_ADC_Init(&hadc2) != HAL_OK)
  {
    Error_Handler();
  }

  /** Configure Analog WatchDog 1
  */
  AnalogWDGConfig.WatchdogNumber = ADC_ANALOGWATCHDOG_1;
  AnalogWDGConfig.WatchdogMode = ADC_ANALOGWATCHDOG_SINGLE_INJEC;
  AnalogWDGConfig.Channel = ADC_CHANNEL_9;
  AnalogWDGConfig.ITMode = DISABLE;
  AnalogWDGConfig.HighThreshold = 0;
  AnalogWDGConfig.LowThreshold = 0;
  AnalogWDGConfig.FilteringConfig = ADC_AWD_FILTERING_NONE;
  if (HAL_ADC_AnalogWDGConfig(&hadc2, &AnalogWDGConfig) != HAL_OK)
  {
    Error_Handler();
  }

  /** Configure Injected Channel
  */
  sConfigInjected.InjectedChannel = ADC_CHANNEL_9;
  sConfigInjected.InjectedRank = ADC_INJECTED_RANK_1;
  sConfigInjected.InjectedSamplingTime = ADC_SAMPLETIME_47CYCLES_5;
  sConfigInjected.InjectedSingleDiff = ADC_SINGLE_ENDED;
  sConfigInjected.InjectedOffsetNumber = ADC_OFFSET_NONE;
  sConfigInjected.InjectedOffset = 0;
  sConfigInjected.InjectedNbrOfConversion = 1;
  sConfigInjected.InjectedDiscontinuousConvMode = DISABLE;
  sConfigInjected.AutoInjectedConv = DISABLE;
  sConfigInjected.QueueInjectedContext = DISABLE;
  sConfigInjected.ExternalTrigInjecConv = ADC_EXTERNALTRIGINJEC_T1_TRGO;
  sConfigInjected.ExternalTrigInjecConvEdge = ADC_EXTERNALTRIGINJECCONV_EDGE_FALLING;
  sConfigInjected.InjecOversamplingMode = DISABLE;
  if (HAL_ADCEx_InjectedConfigChannel(&hadc2, &sConfigInjected) != HAL_OK)
  {
    Error_Handler();
  }

  /** Configure Regular Channel
  */
  sConfig.Channel = ADC_CHANNEL_5;
  sConfig.Rank = ADC_REGULAR_RANK_1;
  sConfig.SamplingTime = ADC_SAMPLETIME_47CYCLES_5;
  sConfig.SingleDiff = ADC_SINGLE_ENDED;
  sConfig.OffsetNumber = ADC_OFFSET_NONE;
  sConfig.Offset = 0;
  if (HAL_ADC_ConfigChannel(&hadc2, &sConfig) != HAL_OK)
  {
    Error_Handler();
  }

}

static void MX_TIM1_Init(void)
{

  TIM_ClockConfigTypeDef sClockSourceConfig = {0};
  TIM_MasterConfigTypeDef sMasterConfig = {0};
  TIM_OC_InitTypeDef sConfigOC = {0};
  TIM_BreakDeadTimeConfigTypeDef sBreakDeadTimeConfig = {0};

  htim1.Instance = TIM1;
  htim1.Init.Prescaler = ((TIM_CLOCK_DIVIDER) - 1);
  htim1.Init.CounterMode = TIM_COUNTERMODE_UP;
  htim1.Init.Period = (PWM_PERIOD_CYCLES);
  htim1.Init.ClockDivision = TIM_CLOCKDIVISION_DIV1;
  htim1.Init.RepetitionCounter = (REP_COUNTER);
  htim1.Init.AutoReloadPreload = TIM_AUTORELOAD_PRELOAD_DISABLE;
  if (HAL_TIM_Base_Init(&htim1) != HAL_OK)
  {
    Error_Handler();
  }
  sClockSourceConfig.ClockSource = TIM_CLOCKSOURCE_INTERNAL;
  if (HAL_TIM_ConfigClockSource(&htim1, &sClockSourceConfig) != HAL_OK)
  {
    Error_Handler();
  }
  if (HAL_TIM_PWM_Init(&htim1) != HAL_OK)
  {
    Error_Handler();
  }
  sMasterConfig.MasterOutputTrigger = TIM_TRGO_OC4REF;
  sMasterConfig.MasterOutputTrigger2 = TIM_TRGO2_RESET;
  sMasterConfig.MasterSlaveMode = TIM_MASTERSLAVEMODE_ENABLE;
  if (HAL_TIMEx_MasterConfigSynchronization(&htim1, &sMasterConfig) != HAL_OK)
  {
    Error_Handler();
  }
  sConfigOC.OCMode = TIM_OCMODE_PWM1;
  sConfigOC.Pulse = 0;
  sConfigOC.OCPolarity = TIM_OCPOLARITY_HIGH;
  sConfigOC.OCNPolarity = TIM_OCNPOLARITY_HIGH;
  sConfigOC.OCFastMode = TIM_OCFAST_DISABLE;
  sConfigOC.OCIdleState = TIM_OCIDLESTATE_RESET;
  sConfigOC.OCNIdleState = TIM_OCNIDLESTATE_RESET;
  if (HAL_TIM_PWM_ConfigChannel(&htim1, &sConfigOC, TIM_CHANNEL_1) != HAL_OK)
  {
    Error_Handler();
  }
  if (HAL_TIM_PWM_ConfigChannel(&htim1, &sConfigOC, TIM_CHANNEL_2) != HAL_OK)
  {
    Error_Handler();
  }
  if (HAL_TIM_PWM_ConfigChannel(&htim1, &sConfigOC, TIM_CHANNEL_3) != HAL_OK)
  {
    Error_Handler();
  }
  if (HAL_TIM_PWM_ConfigChannel(&htim1, &sConfigOC, TIM_CHANNEL_4) != HAL_OK)
  {
    Error_Handler();
  }
  sBreakDeadTimeConfig.OffStateRunMode = TIM_OSSR_DISABLE;
  sBreakDeadTimeConfig.OffStateIDLEMode = TIM_OSSI_DISABLE;
  sBreakDeadTimeConfig.LockLevel = TIM_LOCKLEVEL_OFF;
  sBreakDeadTimeConfig.DeadTime = 0;
  sBreakDeadTimeConfig.BreakState = TIM_BREAK_DISABLE;
  sBreakDeadTimeConfig.BreakPolarity = TIM_BREAKPOLARITY_HIGH;
  sBreakDeadTimeConfig.BreakFilter = 0;
  sBreakDeadTimeConfig.BreakAFMode = TIM_BREAK_AFMODE_INPUT;
  sBreakDeadTimeConfig.Break2State = TIM_BREAK2_DISABLE;
  sBreakDeadTimeConfig.Break2Polarity = TIM_BREAK2POLARITY_HIGH;
  sBreakDeadTimeConfig.Break2Filter = 3;
  sBreakDeadTimeConfig.Break2AFMode = TIM_BREAK_AFMODE_INPUT;
  sBreakDeadTimeConfig.AutomaticOutput = TIM_AUTOMATICOUTPUT_DISABLE;
  if (HAL_TIMEx_ConfigBreakDeadTime(&htim1, &sBreakDeadTimeConfig) != HAL_OK)
  {
    Error_Handler();
  }
  HAL_TIM_MspPostInit(&htim1);

}

static void MX_TIM2_Init(void)
{

  TIM_ClockConfigTypeDef sClockSourceConfig = {0};
  TIM_MasterConfigTypeDef sMasterConfig = {0};

  htim2.Instance = TIM2;
  htim2.Init.Prescaler = LF_TIMER_PSC;
  htim2.Init.CounterMode = TIM_COUNTERMODE_UP;
  htim2.Init.Period = LF_TIMER_ARR;
  htim2.Init.ClockDivision = TIM_CLOCKDIVISION_DIV1;
  htim2.Init.AutoReloadPreload = TIM_AUTORELOAD_PRELOAD_DISABLE;
  if (HAL_TIM_Base_Init(&htim2) != HAL_OK)
  {
    Error_Handler();
  }
  sClockSourceConfig.ClockSource = TIM_CLOCKSOURCE_INTERNAL;
  if (HAL_TIM_ConfigClockSource(&htim2, &sClockSourceConfig) != HAL_OK)
  {
    Error_Handler();
  }
  sMasterConfig.MasterOutputTrigger = TIM_TRGO_ENABLE;
  sMasterConfig.MasterSlaveMode = TIM_MASTERSLAVEMODE_ENABLE;
  if (HAL_TIMEx_MasterConfigSynchronization(&htim2, &sMasterConfig) != HAL_OK)
  {
    Error_Handler();
  }

}

static void MX_USART2_UART_Init(void)
{

  huart2.Instance = USART2;
  huart2.Init.BaudRate = 1843200;
  huart2.Init.WordLength = UART_WORDLENGTH_8B;
  huart2.Init.StopBits = UART_STOPBITS_1;
  huart2.Init.Parity = UART_PARITY_NONE;
  huart2.Init.Mode = UART_MODE_TX_RX;
  huart2.Init.HwFlowCtl = UART_HWCONTROL_NONE;
  huart2.Init.OverSampling = UART_OVERSAMPLING_16;
  huart2.Init.OneBitSampling = UART_ONE_BIT_SAMPLE_DISABLE;
  huart2.Init.ClockPrescaler = UART_PRESCALER_DIV1;
  huart2.AdvancedInit.AdvFeatureInit = UART_ADVFEATURE_NO_INIT;
  if (HAL_UART_Init(&huart2) != HAL_OK)
  {
    Error_Handler();
  }
  if (HAL_UARTEx_SetTxFifoThreshold(&huart2, UART_TXFIFO_THRESHOLD_1_8) != HAL_OK)
  {
    Error_Handler();
  }
  if (HAL_UARTEx_SetRxFifoThreshold(&huart2, UART_RXFIFO_THRESHOLD_1_8) != HAL_OK)
  {
    Error_Handler();
  }
  if (HAL_UARTEx_DisableFifoMode(&huart2) != HAL_OK)
  {
    Error_Handler();
  }

}

static void MX_DMA_Init(void)
{

  /* DMA controller clock enable */
  __HAL_RCC_DMAMUX1_CLK_ENABLE();
  __HAL_RCC_DMA1_CLK_ENABLE();

}

static void MX_GPIO_Init(void)
{
  GPIO_InitTypeDef GPIO_InitStruct = {0};

  /* GPIO Ports Clock Enable */
  __HAL_RCC_GPIOC_CLK_ENABLE();
  __HAL_RCC_GPIOF_CLK_ENABLE();
  __HAL_RCC_GPIOA_CLK_ENABLE();
  __HAL_RCC_GPIOB_CLK_ENABLE();

  /*Configure GPIO pin Output Level */
  HAL_GPIO_WritePin(GPIOB, M1_PWM_EN_U_Pin|M1_PWM_EN_V_Pin|M1_PWM_EN_W_Pin, GPIO_PIN_RESET);

  /*Configure GPIO pin Output Level */
  HAL_GPIO_WritePin(M1_BEMF_DIVIDER_GPIO_Port, M1_BEMF_DIVIDER_Pin, GPIO_PIN_RESET);

  /*Configure GPIO pin : Start_Stop_Pin */
  GPIO_InitStruct.Pin = Start_Stop_Pin;
  GPIO_InitStruct.Mode = GPIO_MODE_IT_FALLING;
  GPIO_InitStruct.Pull = GPIO_NOPULL;
  HAL_GPIO_Init(Start_Stop_GPIO_Port, &GPIO_InitStruct);

  /*Configure GPIO pins : M1_PWM_EN_U_Pin M1_PWM_EN_V_Pin M1_PWM_EN_W_Pin */
  GPIO_InitStruct.Pin = M1_PWM_EN_U_Pin|M1_PWM_EN_V_Pin|M1_PWM_EN_W_Pin;
  GPIO_InitStruct.Mode = GPIO_MODE_OUTPUT_PP;
  GPIO_InitStruct.Pull = GPIO_PULLDOWN;
  GPIO_InitStruct.Speed = GPIO_SPEED_FREQ_HIGH;
  HAL_GPIO_Init(GPIOB, &GPIO_InitStruct);

  /*Configure GPIO pin : M1_BEMF_DIVIDER_Pin */
  GPIO_InitStruct.Pin = M1_BEMF_DIVIDER_Pin;
  GPIO_InitStruct.Mode = GPIO_MODE_OUTPUT_PP;
  GPIO_InitStruct.Pull = GPIO_PULLDOWN;
  GPIO_InitStruct.Speed = GPIO_SPEED_FREQ_LOW;
  HAL_GPIO_Init(M1_BEMF_DIVIDER_GPIO_Port, &GPIO_InitStruct);

}

void Error_Handler(void)
{
	__disable_irq();
	while (1) {
	}
}
